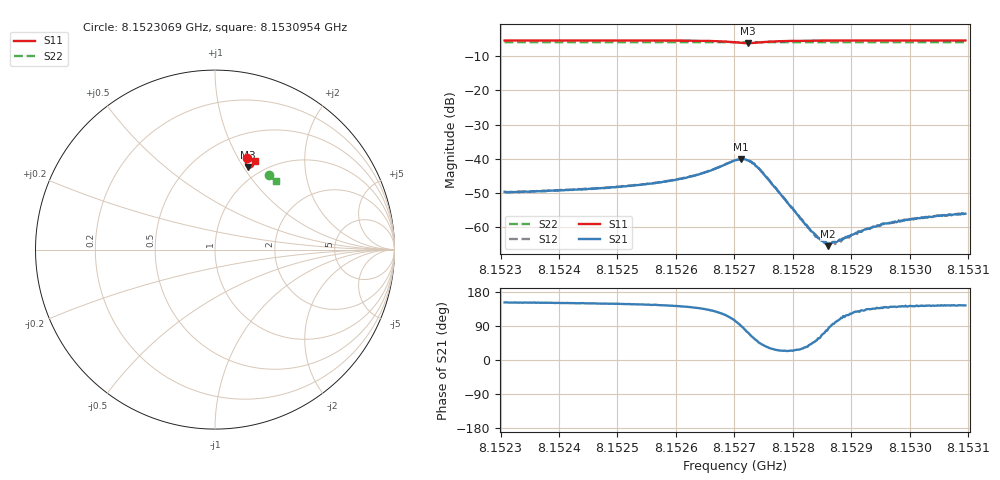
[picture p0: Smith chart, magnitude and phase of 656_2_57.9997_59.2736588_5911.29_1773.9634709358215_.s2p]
#  HZ  S  RI  R  50.00
! Rohde & Schwarz Vector Network Analyzer
! Rohde-Schwarz,ZNB20-2Port,1311601062101988,3.16
! Created: UTC 3/21/2024, 1:19:45 AM
! freq[Hz]  re:S11  im:S11  re:S21  im:S21  re:S12  im:S12  re:S22  im:S22
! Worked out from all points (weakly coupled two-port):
!   401 points, 8.1523069 GHz to 8.1530954 GHz, reference 50 ohm
!   highest |S21| = -40.17 dB at 8.152711 GHz (marker M1); lowest = -65.7 dB at 8.1528608 GHz (marker M2)
!   lowest |S11| = -6.1 dB at 8.1527228 GHz (marker M3), VSWR 2.96, Z = 43.2 + j52.5 ohm
!   |S11| at or under -10 dB: nowhere
!   |S22| runs from -5.9 to -5.8 dB; largest |S21 - S12| = 0.00028
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8.1523069e9  0.1781 0.5104  -0.00287 0.00154  -0.00285 0.00157  0.3023 0.413
8.15243897e9  0.1883 0.5066  -0.00304 0.00175  -0.00303 0.00188  0.3089 0.4077
8.15250008e9  0.1936 0.5044  -0.00328 0.00203  -0.00325 0.00208  0.3119 0.4052
8.15257104e9  0.2007 0.5006  -0.00364 0.00257  -0.00366 0.00262  0.3156 0.4023
8.15263412e9  0.2089 0.4935  -0.00423 0.00384  -0.0042 0.00391  0.3187 0.3994
8.15265975e9  0.2129 0.4871  -0.00439 0.00504  -0.00436 0.00513  0.32 0.3982
8.15270114e9  0.2086 0.464  -0.00218 0.00922  -0.00211 0.00918  0.3214 0.3959
8.152711e9  0.2 0.4585  -0.000119 0.00981  -7.2e-05 0.00983  0.3216 0.3954
8.15272283e9  0.1854 0.4587  0.00275 0.00905  0.00286 0.00913  0.3216 0.3951
8.15273663e9  0.174 0.4703  0.00465 0.00619  0.00488 0.00635  0.322 0.3952
8.15274845e9  0.1725 0.4813  0.00471 0.00398  0.00485 0.004  0.3226 0.3952
8.15281744e9  0.1919 0.4999  0.00103 0.000599  0.00106 0.000603  0.3268 0.3928
8.15283321e9  0.1948 0.5002  0.000602 0.000592  0.00061 0.000592  0.3275 0.392
8.15284307e9  0.1966 0.5003  0.000372 0.000575  0.000412 0.000558  0.328 0.3916
8.15285096e9  0.1978 0.5002  0.000234 0.000576  0.000271 0.000556  0.3286 0.3914
8.15286081e9  0.1993 0.5002  6.27e-05 0.000515  8.18e-05 0.000578  0.329 0.391
8.15287461e9  0.2012 0.4999  -0.000122 0.000593  -0.000132 0.000604  0.3295 0.3902
8.15292192e9  0.2066 0.4989  -0.000584 0.000687  -0.000585 0.000714  0.332 0.3883
8.15295543e9  0.2099 0.4979  -0.000832 0.000714  -0.000833 0.000755  0.3337 0.3869
8.15296528e9  0.2109 0.4978  -0.00086 0.00073  -0.000852 0.000754  0.3343 0.3864
8.15301654e9  0.215 0.4962  -0.00106 0.000817  -0.00106 0.000848  0.3365 0.3843
8.15309538e9  0.2213 0.4941  -0.00126 0.000914  -0.00126 0.000914  0.3402 0.3808
